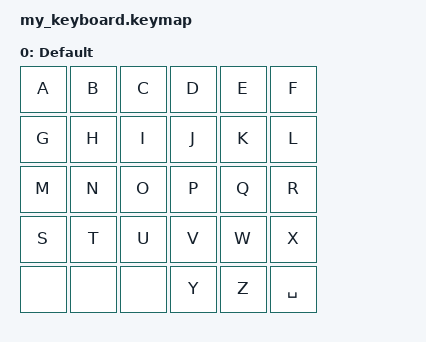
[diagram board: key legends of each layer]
#include <behaviors.dtsi>
#include <dt-bindings/zmk/keys.h>

/ {
    keymap {
        compatible = "zmk,keymap";

        default_layer {
            label = "Default";
            bindings = <
                &kp A  &kp B   &kp C     &kp D    &kp E      &kp F
                &kp G  &kp H   &kp I     &kp J    &kp K      &kp L
                &kp M  &kp N   &kp O     &kp P    &kp Q      &kp R
                &kp S  &kp T   &kp U     &kp V    &kp W      &kp X
                &none  &none   &none     &kp Y    &kp Z   &kp SPACE 
            >;
        };
    };
};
